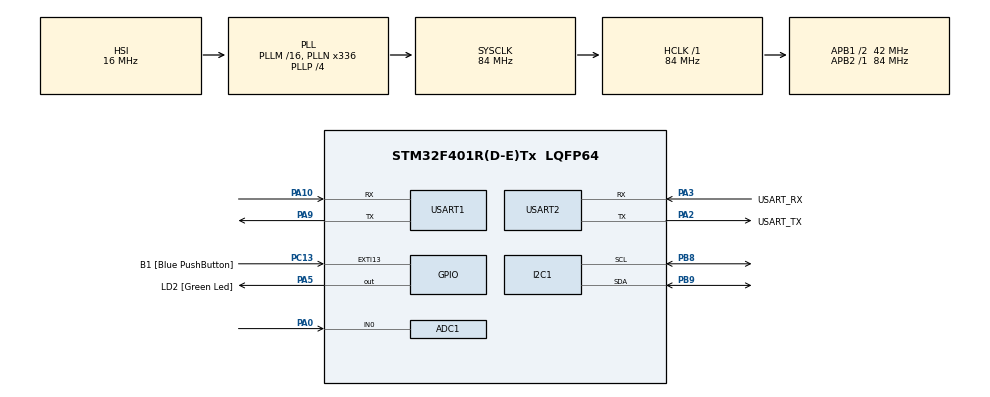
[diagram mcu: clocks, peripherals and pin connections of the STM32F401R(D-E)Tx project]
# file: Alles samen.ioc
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ADC1.Channel-0\#ChannelRegularConversion=ADC_CHANNEL_0
ADC1.NbrOfConversionFlag=1
ADC1.Rank-0\#ChannelRegularConversion=1
ADC1.SamplingTime-0\#ChannelRegularConversion=ADC_SAMPLETIME_3CYCLES
ADC1.master=1
Mcu.Family=STM32F4
Mcu.Name=STM32F401R(D-E)Tx
Mcu.Package=LQFP64
NVIC.PriorityGroup=NVIC_PRIORITYGROUP_0
NVIC.USART1_IRQn=true\:0\:0\:false\:false\:true\:true\:true\:true
PA0-WKUP.Signal=ADCx_IN0
PA10.Mode=Asynchronous
PA10.Signal=USART1_RX
PA13.GPIO_Label=TMS
PA13.Mode=Serial_Wire
PA13.Signal=SYS_JTMS-SWDIO
PA14.GPIO_Label=TCK
PA14.Mode=Serial_Wire
PA14.Signal=SYS_JTCK-SWCLK
PA2.GPIO_Label=USART_TX
PA2.GPIO_Mode=GPIO_MODE_AF_PP
PA2.GPIO_PuPd=GPIO_NOPULL
PA2.GPIO_Speed=GPIO_SPEED_FREQ_LOW
PA2.Mode=Asynchronous
PA2.Signal=USART2_TX
PA3.GPIO_Label=USART_RX
PA3.GPIO_Mode=GPIO_MODE_AF_PP
PA3.GPIO_PuPd=GPIO_NOPULL
PA3.GPIO_Speed=GPIO_SPEED_FREQ_LOW
PA3.Mode=Asynchronous
PA3.Signal=USART2_RX
PA5.GPIO_Label=LD2 [Green Led]
PA5.GPIO_Mode=GPIO_MODE_OUTPUT_PP
PA5.GPIO_PuPd=GPIO_NOPULL
PA5.GPIO_Speed=GPIO_SPEED_FREQ_LOW
PA5.Signal=GPIO_Output
PA9.Mode=Asynchronous
PA9.Signal=USART1_TX
PB3.GPIO_Label=SWO
PB3.Signal=SYS_JTDO-SWO
PB8.Mode=I2C
PB8.Signal=I2C1_SCL
PB9.Mode=I2C
PB9.Signal=I2C1_SDA
PC13-ANTI_TAMP.GPIO_Label=B1 [Blue PushButton]
PC13-ANTI_TAMP.GPIO_ModeDefaultEXTI=GPIO_MODE_IT_FALLING
PC13-ANTI_TAMP.GPIO_PuPd=GPIO_NOPULL
PC13-ANTI_TAMP.Signal=GPXTI13
PC14-OSC32_IN.Mode=LSE-External-Oscillator
PC14-OSC32_IN.Signal=RCC_OSC32_IN
PC15-OSC32_OUT.Mode=LSE-External-Oscillator
PC15-OSC32_OUT.Signal=RCC_OSC32_OUT
PH0\ -\ OSC_IN.Mode=HSE-External-Clock-Source
PH0\ -\ OSC_IN.Signal=RCC_OSC_IN
PH1\ -\ OSC_OUT.Mode=HSE-External-Clock-Source
PH1\ -\ OSC_OUT.Signal=RCC_OSC_OUT
ProjectManager.HeapSize=0x200
ProjectManager.StackSize=0x400
ProjectManager.TargetToolchain=STM32CubeIDE
RCC.48MHZClocksFreq_Value=48000000
RCC.AHBFreq_Value=84000000
RCC.APB1CLKDivider=RCC_HCLK_DIV2
RCC.APB1Freq_Value=42000000
RCC.APB1TimFreq_Value=84000000
RCC.APB2Freq_Value=84000000
RCC.APB2TimFreq_Value=84000000
RCC.CortexFreq_Value=84000000
RCC.HCLKFreq_Value=84000000
RCC.HSE_VALUE=8000000
RCC.HSI_VALUE=16000000
RCC.PLLN=336
RCC.PLLP=RCC_PLLP_DIV4
RCC.PLLQ=7
RCC.SYSCLKFreq_VALUE=84000000
RCC.SYSCLKSource=RCC_SYSCLKSOURCE_PLLCLK
RCC.VCOOutputFreq_Value=336000000
SH.ADCx_IN0.0=ADC1_IN0,IN0
USART1.VirtualMode=VM_ASYNC
USART2.VirtualMode=VM_ASYNC
board=NUCLEO-F401RE

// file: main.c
/* USER CODE BEGIN Header */
/**
  ******************************************************************************
  * @file           : main.c
  * @brief          : Main program body
  ******************************************************************************
  * @attention
  *
  * Copyright (c) 2024 STMicroelectronics.
  * All rights reserved.
  *
  * This software is licensed under terms that can be found in the LICENSE file
  * in the root directory of this software component.
  * If no LICENSE file comes with this software, it is provided AS-IS.
  *
  ******************************************************************************
  */
/* USER CODE END Header */
#include "main.h"

/* USER CODE BEGIN Includes */
#include <string.h>
#include <stdio.h>
#include <math.h>
/* USER CODE END Includes */

ADC_HandleTypeDef hadc1;

I2C_HandleTypeDef hi2c1;

UART_HandleTypeDef huart1;
UART_HandleTypeDef huart2;

static const uint8_t HIH7000_ADDRESS = 0x27 << 1;
static const uint8_t MICS_ADDRESS = 0b1110000 << 1;
static const uint8_t BMP_ADDRESS = 0x76 << 1;

void SystemClock_Config(void);
static void MX_GPIO_Init(void);
static void MX_USART2_UART_Init(void);
static void MX_ADC1_Init(void);
static void MX_I2C1_Init(void);
static void MX_USART1_UART_Init(void);

int main(void)
{

  /* USER CODE BEGIN 1 */
	HAL_StatusTypeDef ret;
	uint8_t buf_data_temperatuur[4];
	uint8_t buf_string[200];
	uint8_t buf_transmit[3];
	int16_t val_temperatuur[2];
	float temp = 0;
	float hum = 0;
	int16_t temp_int = 0;
	uint16_t hum_int = 0;
	uint16_t lux_raw = 0;
	float lux = 0;

	uint8_t buf_data[3];
	uint8_t CO2_raw;
	uint8_t VOC_raw;
	float CO2;
	float VOC;

	uint8_t buf_transmit_pres[6];
	uint8_t buf_data_pres[6];

	uint8_t buf_NVM[30];

	uint32_t pres_raw;
	float pres;

	uint32_t temp_raw;

	float partial_data1_temp;
	float partial_data2_temp;

	float partial_data1_pres;
	float partial_data2_pres;
	float partial_data3_pres;
	float partial_data4_pres;
	float partial_out1;
	float partial_out2;

	uint16_t NVM_PAR_T1;
	float PAR_T1;

	uint16_t NVM_PAR_T2;
	float PAR_T2;

	int8_t NVM_PAR_T3;
	float PAR_T3;

	int16_t NVM_PAR_P1;
	float PAR_P1;

	int16_t NVM_PAR_P2;
	float PAR_P2;

	int8_t NVM_PAR_P3;
	float PAR_P3;

	int8_t NVM_PAR_P4;
	float PAR_P4;

	uint16_t NVM_PAR_P5;
	float PAR_P5;

	uint16_t NVM_PAR_P6;
	float PAR_P6;

	int8_t NVM_PAR_P7;
	float PAR_P7;

	int8_t NVM_PAR_P8;
	float PAR_P8;

	int16_t NVM_PAR_P9;
	float PAR_P9;

	int8_t NVM_PAR_P10;
	float PAR_P10;

	int8_t NVM_PAR_P11;
	float PAR_P11;
  /* USER CODE END 1 */

  /* MCU Configuration--------------------------------------------------------*/

  /* Reset of all peripherals, Initializes the Flash interface and the Systick. */
  HAL_Init();

  /* Configure the system clock */
  SystemClock_Config();

  /* Initialize all configured peripherals */
  MX_GPIO_Init();
  MX_USART2_UART_Init();
  MX_ADC1_Init();
  MX_I2C1_Init();
  MX_USART1_UART_Init();

  /* Infinite loop */
  /* USER CODE BEGIN WHILE */
  while (1)
  {

	//
	// Lichtsensor
	//

	HAL_ADC_Start(&hadc1);
	HAL_ADC_PollForConversion(&hadc1, 20);
	lux_raw = HAL_ADC_GetValue(&hadc1);
	lux = (float)lux_raw / 4.095;

	// Luchtvochtigheid en temperatuursensor

	buf_transmit[0] = 0x00;
	buf_data_temperatuur[0] = 0;
	buf_data_temperatuur[1] = 0;
	buf_data_temperatuur[2] = 0;
	buf_data_temperatuur[3] = 0;

	val_temperatuur[0] = 0;
	val_temperatuur[1] = 0;

	// Stuur code naar sensor zodat deze weet wat er verwacht wordt
	ret = HAL_I2C_Master_Transmit(&hi2c1, HIH7000_ADDRESS, buf_transmit, 1, HAL_MAX_DELAY);

	// Wacht 250ms anders heeft HAL_Transmit niet genoeg tijd
	HAL_Delay(250);

	// Geen HAL_OK ontvangen = fout
	if (ret != HAL_OK) {
		strcpy((char*)buf_string, "Error met tempertuursensor Tx\r\n");
	} else {
		// Ontvang de vochtigheid en de temperatuur en sla deze op in de buffer
		ret = HAL_I2C_Master_Receive(&hi2c1, HIH7000_ADDRESS, buf_data_temperatuur, 4, HAL_MAX_DELAY);

		// Geen HAL_OK ontvangen = fout
		if (ret != HAL_OK) {
			strcpy((char*)buf_string, "Error met tempertuursensor Rx\r\n");
		} else {
			}

			// Vochtigheid berekenen (14 bits, unsigned)
			val_temperatuur[0] = ((buf_data_temperatuur[0]) << 8) | buf_data_temperatuur[1];
			hum = ((float)val_temperatuur[0] / 16382) * 100;

			// Temperatuur berekenen (14 bits, signed)
			val_temperatuur[1] = (buf_data_temperatuur[2] << 6) | (buf_data_temperatuur[3]);
			temp = ((float)val_temperatuur[1] / 16382) * 165 - 40;

			// Vochtigheid en temperatuur omzetten naar integers (en * 100 doen om 2 cijfers achter de komma te berekenen)
			hum_int = (uint16_t)(hum * 100);
			temp_int = (int16_t)(temp * 100);

			//
			// VOC en CO2 sensor
			//

			buf_transmit[0] = 0b000001100;

			//stuur code naar sensor zodat deze weet wat er verwacht wordt
			ret = HAL_I2C_Master_Transmit(&hi2c1, MICS_ADDRESS, buf_transmit, 1, HAL_MAX_DELAY);
			HAL_Delay(250);

			// geen HAL_OK onvangen = fout
			if ( ret != HAL_OK ) {
			  strcpy((char*)buf_string, "Error met CO2 sensor Tx\r\n");
			  } else {
				  // Ontvang alle data van de sensor en sla deze op in de buffer
				  ret = HAL_I2C_Master_Receive(&hi2c1, MICS_ADDRESS, buf_data, 2, HAL_MAX_DELAY);

				  // geen HAL_OK onvangen = fout
				  if ( ret != HAL_OK ) {
					  strcpy((char*)buf_string, "Error met CO2 sensor Rx\r\n");
				  } else {

					  // kopieer waarde van ruwe waarde in CO2_raw
					  CO2_raw = buf_data[1];
					  VOC_raw = buf_data[0];

					  // ruwe waarde converteren
					  CO2 = (CO2_raw - 13.0) * (1600.0 / 229.0) + 400.0;
					  VOC = (VOC_raw - 13.0) * (1000.0 / 229.0);

					  //
					  // druk
					  //

					  buf_transmit_pres[0] = 0x09;
					  buf_transmit_pres[1] = 0x08;
					  buf_transmit_pres[2] = 0x07;
					  buf_transmit_pres[3] = 0x06;
					  buf_transmit_pres[4] = 0x05;
					  buf_transmit_pres[5] = 0x04;

					  buf_data_pres[0] = 0x00;
					  buf_data_pres[1] = 0x00;
					  buf_data_pres[2] = 0x00;
					  buf_data_pres[3] = 0x00;
					  buf_data_pres[4] = 0x00;
					  buf_data_pres[5] = 0x00;

					  // open normal mode

					  HAL_I2C_Mem_Read(&hi2c1, BMP_ADDRESS, 0x31, 1, buf_NVM, 21, HAL_MAX_DELAY);

					  NVM_PAR_T1 = ((uint16_t)buf_NVM[1] << 8) | ((uint16_t)buf_NVM[0]);
					  NVM_PAR_T2 = ((uint16_t)buf_NVM[3] << 8) | ((uint16_t)buf_NVM[2]);
					  NVM_PAR_T3 = buf_NVM[4];
					  NVM_PAR_P1 = ((uint16_t)buf_NVM[6] << 8) | ((uint16_t)buf_NVM[5]);
					  NVM_PAR_P2 = ((uint16_t)buf_NVM[8] << 8) | ((uint16_t)buf_NVM[7]);
					  NVM_PAR_P3 = buf_NVM[9];
					  NVM_PAR_P4 = buf_NVM[10];
					  NVM_PAR_P5 = ((uint16_t)buf_NVM[12] << 8) | ((uint16_t)buf_NVM[11]);
					  NVM_PAR_P6 = ((uint16_t)buf_NVM[14] << 8) | ((uint16_t)buf_NVM[13]);
					  NVM_PAR_P7 = buf_NVM[15];
					  NVM_PAR_P8 = buf_NVM[16];
					  NVM_PAR_P9 = ((uint16_t)buf_NVM[18] << 8) | ((uint16_t)buf_NVM[17]);
					  NVM_PAR_P10 = buf_NVM[19];
					  NVM_PAR_P11 = buf_NVM[20];

					  PAR_T1 = (float)NVM_PAR_T1 * pow(2,8);       // 2^-8
					  PAR_T2 = (float)NVM_PAR_T2 / pow(2,30);      // 2^30
					  PAR_T3 = (float)NVM_PAR_T3 / pow(2,48);      // 2^48

					  PAR_P1 = ((float)NVM_PAR_P1 - 16384) / pow(2,20);      // (2^14) / (2^20)
					  PAR_P2 = ((float)NVM_PAR_P2 - 16384) / pow(2,29);      // (2^14) / (2^29)
					  PAR_P3 = (float)NVM_PAR_P3 / pow(2,32);      // 2^-32
					  PAR_P4 = (float)NVM_PAR_P4 / pow(2,37);      // 2^-7
					  PAR_P5 = (float)NVM_PAR_P5 * 8;              // 2^-3
					  PAR_P6 = (float)NVM_PAR_P6 / 64;             // 2^6
					  PAR_P7 = (float)NVM_PAR_P7 / 256;            // 2^8
					  PAR_P8 = (float)NVM_PAR_P8 / pow(2,15);      // 2^15
					  PAR_P9 = (float)NVM_PAR_P9 / pow(2,48);      // 2^48
					  PAR_P10 = (float)NVM_PAR_P10 / pow(2,48);    // 2^48
					  PAR_P11 = (float)NVM_PAR_P11 / pow(2,65);    // 2^65

					  uint8_t en_power = 0x33;
					  HAL_I2C_Mem_Write(&hi2c1, BMP_ADDRESS, 0x1B, 1, &en_power, 1, HAL_MAX_DELAY);

					  //stuur code naar sensor zodat deze weet dat hij de 6 bytes, die info over druk en temp bevatten, moet terugsturen
					  ret = HAL_I2C_Master_Transmit(&hi2c1, BMP_ADDRESS, buf_transmit_pres, 6, HAL_MAX_DELAY);
					  HAL_Delay(250);

					  // geen HAL_OK onvangen = fout
					  if ( ret != HAL_OK ) {
						  strcpy((char*)buf_string, "Error Tx\r\n");
						  } else {
							  // Ontvang de 3 bytes van de sensor en sla deze op in de buffer
							  ret = HAL_I2C_Mem_Read(&hi2c1, BMP_ADDRESS, 0x04, 1, buf_data_pres, 6, HAL_MAX_DELAY);
							  HAL_Delay(250);
							  // geen HAL_OK onvangen = fout
							  if ( ret != HAL_OK ) {
								  strcpy((char*)buf_string, "Error Rx\r\n");
							  } else {

								  // plak de 3 bytes aan elkaar
								  pres_raw = ((uint32_t)buf_data_pres[3] << 16) | ((uint32_t)buf_data_pres[4] << 8) | ((uint32_t)buf_data_pres[5]);
								  temp_raw = ((uint32_t)buf_data_pres[0] << 16) | ((uint32_t)buf_data_pres[1] << 8) | ((uint32_t)buf_data_pres[2]);

								  // Gebruik de compensatiefunctie om de ruwe waarde te corrigeren

								  partial_data1_temp = ((float)temp_raw - PAR_T1);
								  partial_data2_temp = (float)(partial_data1_temp * PAR_T2);
								  float t_lin = partial_data2_temp + partial_data1_temp * partial_data1_temp * PAR_T3;

								  partial_data1_pres = PAR_P6 * t_lin;
								  partial_data2_pres = PAR_P7 * t_lin * t_lin;
								  partial_data3_pres = PAR_P8 * t_lin * t_lin * t_lin;
								  partial_out1 = PAR_P5 + partial_data1_pres + partial_data2_pres + partial_data3_pres;

								  partial_data1_pres = PAR_P2 * t_lin;
								  partial_data2_pres = PAR_P3 * t_lin * t_lin;
								  partial_data3_pres = PAR_P4 * t_lin * t_lin * t_lin;
								  partial_out2 = (float)pres_raw * (PAR_P1 + partial_data1_pres + partial_data2_pres + partial_data3_pres);

								  partial_data1_pres = (float)pres_raw * (float)pres_raw;
								  partial_data2_pres = PAR_P9 + PAR_P10 * t_lin;
								  partial_data3_pres = partial_data1_pres * partial_data2_pres;
								  partial_data4_pres = partial_data3_pres + ((float)pres_raw * (float)pres_raw * (float)pres_raw * PAR_P11);
								  pres = partial_out1 + partial_out2 + partial_data4_pres;

					  sprintf((char*)buf_string,
							"T:%u.%02u,RH:%u.%02u,CO2:%u,VOC:%u,L:%u,P:%u\r\n",
							(temp_int / 100), (temp_int % 100),
							(hum_int / 100), (hum_int % 100),
							(unsigned int)CO2, (unsigned int)VOC,
							(unsigned int)lux,
							(unsigned int)pres);
					}
				  }
	  			}

	  		// Buffer versturen
	  		HAL_UART_Transmit(&huart2, buf_string, strlen((char*)buf_string), HAL_MAX_DELAY);
	  		HAL_UART_Transmit(&huart1, buf_string, strlen((char*)buf_string), HAL_MAX_DELAY);

	  		// Wacht 0.25s
	  		HAL_Delay(250);
    /* USER CODE BEGIN 3 */
  }}}}
  /* USER CODE END 3 */

void SystemClock_Config(void)
{
  RCC_OscInitTypeDef RCC_OscInitStruct = {0};
  RCC_ClkInitTypeDef RCC_ClkInitStruct = {0};

  /** Configure the main internal regulator output voltage
  */
  __HAL_RCC_PWR_CLK_ENABLE();
  __HAL_PWR_VOLTAGESCALING_CONFIG(PWR_REGULATOR_VOLTAGE_SCALE2);

  /** Initializes the RCC Oscillators according to the specified parameters
  * in the RCC_OscInitTypeDef structure.
  */
  RCC_OscInitStruct.OscillatorType = RCC_OSCILLATORTYPE_HSI;
  RCC_OscInitStruct.HSIState = RCC_HSI_ON;
  RCC_OscInitStruct.HSICalibrationValue = RCC_HSICALIBRATION_DEFAULT;
  RCC_OscInitStruct.PLL.PLLState = RCC_PLL_ON;
  RCC_OscInitStruct.PLL.PLLSource = RCC_PLLSOURCE_HSI;
  RCC_OscInitStruct.PLL.PLLM = 16;
  RCC_OscInitStruct.PLL.PLLN = 336;
  RCC_OscInitStruct.PLL.PLLP = RCC_PLLP_DIV4;
  RCC_OscInitStruct.PLL.PLLQ = 7;
  if (HAL_RCC_OscConfig(&RCC_OscInitStruct) != HAL_OK)
  {
    Error_Handler();
  }

  /** Initializes the CPU, AHB and APB buses clocks
  */
  RCC_ClkInitStruct.ClockType = RCC_CLOCKTYPE_HCLK|RCC_CLOCKTYPE_SYSCLK
                              |RCC_CLOCKTYPE_PCLK1|RCC_CLOCKTYPE_PCLK2;
  RCC_ClkInitStruct.SYSCLKSource = RCC_SYSCLKSOURCE_PLLCLK;
  RCC_ClkInitStruct.AHBCLKDivider = RCC_SYSCLK_DIV1;
  RCC_ClkInitStruct.APB1CLKDivider = RCC_HCLK_DIV2;
  RCC_ClkInitStruct.APB2CLKDivider = RCC_HCLK_DIV1;

  if (HAL_RCC_ClockConfig(&RCC_ClkInitStruct, FLASH_LATENCY_2) != HAL_OK)
  {
    Error_Handler();
  }
}

static void MX_ADC1_Init(void)
{

  ADC_ChannelConfTypeDef sConfig = {0};

  /** Configure the global features of the ADC (Clock, Resolution, Data Alignment and number of conversion)
  */
  hadc1.Instance = ADC1;
  hadc1.Init.ClockPrescaler = ADC_CLOCK_SYNC_PCLK_DIV4;
  hadc1.Init.Resolution = ADC_RESOLUTION_12B;
  hadc1.Init.ScanConvMode = DISABLE;
  hadc1.Init.ContinuousConvMode = DISABLE;
  hadc1.Init.DiscontinuousConvMode = DISABLE;
  hadc1.Init.ExternalTrigConvEdge = ADC_EXTERNALTRIGCONVEDGE_NONE;
  hadc1.Init.ExternalTrigConv = ADC_SOFTWARE_START;
  hadc1.Init.DataAlign = ADC_DATAALIGN_RIGHT;
  hadc1.Init.NbrOfConversion = 1;
  hadc1.Init.DMAContinuousRequests = DISABLE;
  hadc1.Init.EOCSelection = ADC_EOC_SINGLE_CONV;
  if (HAL_ADC_Init(&hadc1) != HAL_OK)
  {
    Error_Handler();
  }

  /** Configure for the selected ADC regular channel its corresponding rank in the sequencer and its sample time.
  */
  sConfig.Channel = ADC_CHANNEL_0;
  sConfig.Rank = 1;
  sConfig.SamplingTime = ADC_SAMPLETIME_3CYCLES;
  if (HAL_ADC_ConfigChannel(&hadc1, &sConfig) != HAL_OK)
  {
    Error_Handler();
  }

}

static void MX_I2C1_Init(void)
{

  hi2c1.Instance = I2C1;
  hi2c1.Init.ClockSpeed = 100000;
  hi2c1.Init.DutyCycle = I2C_DUTYCYCLE_2;
  hi2c1.Init.OwnAddress1 = 0;
  hi2c1.Init.AddressingMode = I2C_ADDRESSINGMODE_7BIT;
  hi2c1.Init.DualAddressMode = I2C_DUALADDRESS_DISABLE;
  hi2c1.Init.OwnAddress2 = 0;
  hi2c1.Init.GeneralCallMode = I2C_GENERALCALL_DISABLE;
  hi2c1.Init.NoStretchMode = I2C_NOSTRETCH_DISABLE;
  if (HAL_I2C_Init(&hi2c1) != HAL_OK)
  {
    Error_Handler();
  }

}

static void MX_USART1_UART_Init(void)
{

  huart1.Instance = USART1;
  huart1.Init.BaudRate = 115200;
  huart1.Init.WordLength = UART_WORDLENGTH_8B;
  huart1.Init.StopBits = UART_STOPBITS_1;
  huart1.Init.Parity = UART_PARITY_NONE;
  huart1.Init.Mode = UART_MODE_TX_RX;
  huart1.Init.HwFlowCtl = UART_HWCONTROL_NONE;
  huart1.Init.OverSampling = UART_OVERSAMPLING_16;
  if (HAL_UART_Init(&huart1) != HAL_OK)
  {
    Error_Handler();
  }

}

static void MX_USART2_UART_Init(void)
{

  huart2.Instance = USART2;
  huart2.Init.BaudRate = 115200;
  huart2.Init.WordLength = UART_WORDLENGTH_8B;
  huart2.Init.StopBits = UART_STOPBITS_1;
  huart2.Init.Parity = UART_PARITY_NONE;
  huart2.Init.Mode = UART_MODE_TX_RX;
  huart2.Init.HwFlowCtl = UART_HWCONTROL_NONE;
  huart2.Init.OverSampling = UART_OVERSAMPLING_16;
  if (HAL_UART_Init(&huart2) != HAL_OK)
  {
    Error_Handler();
  }

}

static void MX_GPIO_Init(void)
{
  GPIO_InitTypeDef GPIO_InitStruct = {0};

  /* GPIO Ports Clock Enable */
  __HAL_RCC_GPIOC_CLK_ENABLE();
  __HAL_RCC_GPIOH_CLK_ENABLE();
  __HAL_RCC_GPIOA_CLK_ENABLE();
  __HAL_RCC_GPIOB_CLK_ENABLE();

  /*Configure GPIO pin Output Level */
  HAL_GPIO_WritePin(LD2_GPIO_Port, LD2_Pin, GPIO_PIN_RESET);

  /*Configure GPIO pin : B1_Pin */
  GPIO_InitStruct.Pin = B1_Pin;
  GPIO_InitStruct.Mode = GPIO_MODE_IT_FALLING;
  GPIO_InitStruct.Pull = GPIO_NOPULL;
  HAL_GPIO_Init(B1_GPIO_Port, &GPIO_InitStruct);

  /*Configure GPIO pin : LD2_Pin */
  GPIO_InitStruct.Pin = LD2_Pin;
  GPIO_InitStruct.Mode = GPIO_MODE_OUTPUT_PP;
  GPIO_InitStruct.Pull = GPIO_NOPULL;
  GPIO_InitStruct.Speed = GPIO_SPEED_FREQ_LOW;
  HAL_GPIO_Init(LD2_GPIO_Port, &GPIO_InitStruct);

}

void Error_Handler(void)
{
  __disable_irq();
  while (1)
  {
  }
}
